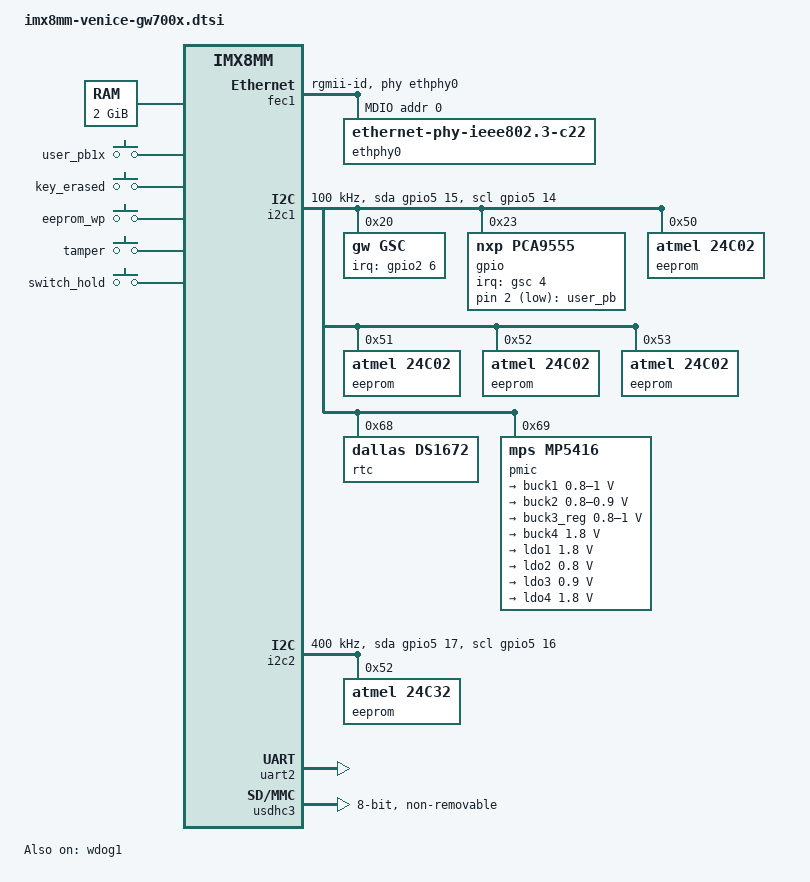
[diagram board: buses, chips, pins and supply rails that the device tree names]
// SPDX-License-Identifier: (GPL-2.0+ OR MIT)
/*
 * Copyright 2020 Gateworks Corporation
 */

#include <dt-bindings/gpio/gpio.h>
#include <dt-bindings/input/linux-event-codes.h>
#include <dt-bindings/leds/common.h>
#include <dt-bindings/net/ti-dp83867.h>

/ {
	memory@40000000 {
		device_type = "memory";
		reg = <0x0 0x40000000 0 0x80000000>;
	};

	gpio-keys {
		compatible = "gpio-keys";

		key-user-pb {
			label = "user_pb";
			gpios = <&gpio 2 GPIO_ACTIVE_LOW>;
			linux,code = <BTN_0>;
		};

		key-user-pb1x {
			label = "user_pb1x";
			linux,code = <BTN_1>;
			interrupt-parent = <&gsc>;
			interrupts = <0>;
		};

		key-erased {
			label = "key_erased";
			linux,code = <BTN_2>;
			interrupt-parent = <&gsc>;
			interrupts = <1>;
		};

		key-eeprom-wp {
			label = "eeprom_wp";
			linux,code = <BTN_3>;
			interrupt-parent = <&gsc>;
			interrupts = <2>;
		};

		key-tamper {
			label = "tamper";
			linux,code = <BTN_4>;
			interrupt-parent = <&gsc>;
			interrupts = <5>;
		};

		switch-hold {
			label = "switch_hold";
			linux,code = <BTN_5>;
			interrupt-parent = <&gsc>;
			interrupts = <7>;
		};
	};
};

&A53_0 {
	cpu-supply = <&buck3_reg>;
};

&A53_1 {
	cpu-supply = <&buck3_reg>;
};

&A53_2 {
	cpu-supply = <&buck3_reg>;
};

&A53_3 {
	cpu-supply = <&buck3_reg>;
};

&ddrc {
	operating-points-v2 = <&ddrc_opp_table>;

	ddrc_opp_table: opp-table {
		compatible = "operating-points-v2";

		opp-25000000 {
			opp-hz = /bits/ 64 <25000000>;
		};

		opp-100000000 {
			opp-hz = /bits/ 64 <100000000>;
		};

		opp-750000000 {
			opp-hz = /bits/ 64 <750000000>;
		};
	};
};

&fec1 {
	pinctrl-names = "default";
	pinctrl-0 = <&pinctrl_fec1>;
	phy-mode = "rgmii-id";
	phy-handle = <&ethphy0>;
	status = "okay";

	mdio {
		#address-cells = <1>;
		#size-cells = <0>;

		ethphy0: ethernet-phy@0 {
			compatible = "ethernet-phy-ieee802.3-c22";
			reg = <0>;
			ti,rx-internal-delay = <DP83867_RGMIIDCTL_2_00_NS>;
			ti,tx-internal-delay = <DP83867_RGMIIDCTL_2_00_NS>;
			tx-fifo-depth = <DP83867_PHYCR_FIFO_DEPTH_4_B_NIB>;
			rx-fifo-depth = <DP83867_PHYCR_FIFO_DEPTH_4_B_NIB>;

			leds {
				#address-cells = <1>;
				#size-cells = <0>;

				led@1 {
					reg = <1>;
					color = <LED_COLOR_ID_AMBER>;
					function = LED_FUNCTION_LAN;
					default-state = "keep";
				};

				led@2 {
					reg = <2>;
					color = <LED_COLOR_ID_GREEN>;
					function = LED_FUNCTION_LAN;
					default-state = "keep";
				};
			};
		};
	};
};

&i2c1 {
	clock-frequency = <100000>;
	pinctrl-names = "default", "gpio";
	pinctrl-0 = <&pinctrl_i2c1>;
	pinctrl-1 = <&pinctrl_i2c1_gpio>;
	scl-gpios = <&gpio5 14 (GPIO_ACTIVE_HIGH | GPIO_OPEN_DRAIN)>;
	sda-gpios = <&gpio5 15 (GPIO_ACTIVE_HIGH | GPIO_OPEN_DRAIN)>;
	status = "okay";

	gsc: gsc@20 {
		compatible = "gw,gsc";
		reg = <0x20>;
		pinctrl-0 = <&pinctrl_gsc>;
		interrupt-parent = <&gpio2>;
		interrupts = <6 IRQ_TYPE_EDGE_FALLING>;
		interrupt-controller;
		#interrupt-cells = <1>;
		#address-cells = <1>;
		#size-cells = <0>;

		adc {
			compatible = "gw,gsc-adc";
			#address-cells = <1>;
			#size-cells = <0>;

			channel@6 {
				gw,mode = <0>;
				reg = <0x06>;
				label = "temp";
			};

			channel@8 {
				gw,mode = <3>;
				reg = <0x08>;
				label = "vdd_bat";
			};

			channel@16 {
				gw,mode = <4>;
				reg = <0x16>;
				label = "fan_tach";
			};

			channel@82 {
				gw,mode = <2>;
				reg = <0x82>;
				label = "vdd_vin";
				gw,voltage-divider-ohms = <22100 1000>;
			};

			channel@84 {
				gw,mode = <2>;
				reg = <0x84>;
				label = "vdd_adc1";
				gw,voltage-divider-ohms = <10000 10000>;
			};

			channel@86 {
				gw,mode = <2>;
				reg = <0x86>;
				label = "vdd_adc2";
				gw,voltage-divider-ohms = <10000 10000>;
			};

			channel@88 {
				gw,mode = <2>;
				reg = <0x88>;
				label = "vdd_dram";
			};

			channel@8c {
				gw,mode = <2>;
				reg = <0x8c>;
				label = "vdd_1p2";
			};

			channel@8e {
				gw,mode = <2>;
				reg = <0x8e>;
				label = "vdd_1p0";
			};

			channel@90 {
				gw,mode = <2>;
				reg = <0x90>;
				label = "vdd_2p5";
				gw,voltage-divider-ohms = <10000 10000>;
			};

			channel@92 {
				gw,mode = <2>;
				reg = <0x92>;
				label = "vdd_3p3";
				gw,voltage-divider-ohms = <10000 10000>;
			};

			channel@98 {
				gw,mode = <2>;
				reg = <0x98>;
				label = "vdd_0p95";
			};

			channel@9a {
				gw,mode = <2>;
				reg = <0x9a>;
				label = "vdd_1p8";
			};

			channel@a2 {
				gw,mode = <2>;
				reg = <0xa2>;
				label = "vdd_gsc";
				gw,voltage-divider-ohms = <10000 10000>;
			};
		};

		fan-controller@0 {
			compatible = "gw,gsc-fan";
			reg = <0x0a>;
		};
	};

	gpio: gpio@23 {
		compatible = "nxp,pca9555";
		reg = <0x23>;
		gpio-controller;
		#gpio-cells = <2>;
		interrupt-parent = <&gsc>;
		interrupts = <4>;
	};

	eeprom@50 {
		compatible = "atmel,24c02";
		reg = <0x50>;
		pagesize = <16>;
	};

	eeprom@51 {
		compatible = "atmel,24c02";
		reg = <0x51>;
		pagesize = <16>;
	};

	eeprom@52 {
		compatible = "atmel,24c02";
		reg = <0x52>;
		pagesize = <16>;
	};

	eeprom@53 {
		compatible = "atmel,24c02";
		reg = <0x53>;
		pagesize = <16>;
	};

	rtc@68 {
		compatible = "dallas,ds1672";
		reg = <0x68>;
	};

	pmic@69 {
		compatible = "mps,mp5416";
		reg = <0x69>;

		regulators {
			/* vdd_0p95: DRAM/GPU/VPU */
			buck1 {
				regulator-name = "buck1";
				regulator-min-microvolt = <800000>;
				regulator-max-microvolt = <1000000>;
				regulator-min-microamp = <3800000>;
				regulator-max-microamp = <6800000>;
				regulator-boot-on;
				regulator-always-on;
			};

			/* vdd_soc */
			buck2 {
				regulator-name = "buck2";
				regulator-min-microvolt = <800000>;
				regulator-max-microvolt = <900000>;
				regulator-min-microamp = <2200000>;
				regulator-max-microamp = <5200000>;
				regulator-boot-on;
				regulator-always-on;
			};

			/* vdd_arm */
			buck3_reg: buck3 {
				regulator-name = "buck3";
				regulator-min-microvolt = <800000>;
				regulator-max-microvolt = <1000000>;
				regulator-min-microamp = <3800000>;
				regulator-max-microamp = <6800000>;
				regulator-always-on;
			};

			/* vdd_1p8 */
			buck4 {
				regulator-name = "buck4";
				regulator-min-microvolt = <1800000>;
				regulator-max-microvolt = <1800000>;
				regulator-min-microamp = <2200000>;
				regulator-max-microamp = <5200000>;
				regulator-boot-on;
				regulator-always-on;
			};

			/* nvcc_snvs_1p8 */
			ldo1 {
				regulator-name = "ldo1";
				regulator-min-microvolt = <1800000>;
				regulator-max-microvolt = <1800000>;
				regulator-boot-on;
				regulator-always-on;
			};

			/* vdd_snvs_0p8 */
			ldo2 {
				regulator-name = "ldo2";
				regulator-min-microvolt = <800000>;
				regulator-max-microvolt = <800000>;
				regulator-boot-on;
				regulator-always-on;
			};

			/* vdd_0p9 */
			ldo3 {
				regulator-name = "ldo3";
				regulator-min-microvolt = <900000>;
				regulator-max-microvolt = <900000>;
				regulator-boot-on;
				regulator-always-on;
			};

			/* vdd_1p8 */
			ldo4 {
				regulator-name = "ldo4";
				regulator-min-microvolt = <1800000>;
				regulator-max-microvolt = <1800000>;
				regulator-boot-on;
				regulator-always-on;
			};
		};
	};
};

&i2c2 {
	clock-frequency = <400000>;
	pinctrl-names = "default", "gpio";
	pinctrl-0 = <&pinctrl_i2c2>;
	pinctrl-1 = <&pinctrl_i2c2_gpio>;
	scl-gpios = <&gpio5 16 (GPIO_ACTIVE_HIGH | GPIO_OPEN_DRAIN)>;
	sda-gpios = <&gpio5 17 (GPIO_ACTIVE_HIGH | GPIO_OPEN_DRAIN)>;
	status = "okay";

	eeprom@52 {
		compatible = "atmel,24c32";
		reg = <0x52>;
		pagesize = <32>;
	};
};

/* console */
&uart2 {
	pinctrl-names = "default";
	pinctrl-0 = <&pinctrl_uart2>;
	status = "okay";
};

/* eMMC */
&usdhc3 {
	pinctrl-names = "default", "state_100mhz", "state_200mhz";
	pinctrl-0 = <&pinctrl_usdhc3>;
	pinctrl-1 = <&pinctrl_usdhc3_100mhz>;
	pinctrl-2 = <&pinctrl_usdhc3_200mhz>;
	bus-width = <8>;
	non-removable;
	status = "okay";
};

&wdog1 {
	pinctrl-names = "default";
	pinctrl-0 = <&pinctrl_wdog>;
	fsl,ext-reset-output;
	status = "okay";
};

&iomuxc {
	pinctrl_fec1: fec1grp {
		fsl,pins = <
			MX8MM_IOMUXC_ENET_MDC_ENET1_MDC			0x3
			MX8MM_IOMUXC_ENET_MDIO_ENET1_MDIO		0x3
			MX8MM_IOMUXC_ENET_TD3_ENET1_RGMII_TD3		0x1f
			MX8MM_IOMUXC_ENET_TD2_ENET1_RGMII_TD2		0x1f
			MX8MM_IOMUXC_ENET_TD1_ENET1_RGMII_TD1		0x1f
			MX8MM_IOMUXC_ENET_TD0_ENET1_RGMII_TD0		0x1f
			MX8MM_IOMUXC_ENET_RD3_ENET1_RGMII_RD3		0x91
			MX8MM_IOMUXC_ENET_RD2_ENET1_RGMII_RD2		0x91
			MX8MM_IOMUXC_ENET_RD1_ENET1_RGMII_RD1		0x91
			MX8MM_IOMUXC_ENET_RD0_ENET1_RGMII_RD0		0x91
			MX8MM_IOMUXC_ENET_TXC_ENET1_RGMII_TXC		0x1f
			MX8MM_IOMUXC_ENET_RXC_ENET1_RGMII_RXC		0x91
			MX8MM_IOMUXC_ENET_RX_CTL_ENET1_RGMII_RX_CTL	0x91
			MX8MM_IOMUXC_ENET_TX_CTL_ENET1_RGMII_TX_CTL	0x1f
			MX8MM_IOMUXC_NAND_ALE_GPIO3_IO0			0x19
		>;
	};

	pinctrl_gsc: gscgrp {
		fsl,pins = <
			MX8MM_IOMUXC_SD1_DATA4_GPIO2_IO6	0x159
		>;
	};

	pinctrl_i2c1: i2c1grp {
		fsl,pins = <
			MX8MM_IOMUXC_I2C1_SCL_I2C1_SCL		0x400001c3
			MX8MM_IOMUXC_I2C1_SDA_I2C1_SDA		0x400001c3
		>;
	};

	pinctrl_i2c1_gpio: i2c1gpiogrp {
		fsl,pins = <
			MX8MM_IOMUXC_I2C1_SCL_GPIO5_IO14	0x400001c3
			MX8MM_IOMUXC_I2C1_SDA_GPIO5_IO15	0x400001c3
		>;
	};

	pinctrl_i2c2: i2c2grp {
		fsl,pins = <
			MX8MM_IOMUXC_I2C2_SCL_I2C2_SCL		0x400001c3
			MX8MM_IOMUXC_I2C2_SDA_I2C2_SDA		0x400001c3
		>;
	};

	pinctrl_i2c2_gpio: i2c2gpiogrp {
		fsl,pins = <
			MX8MM_IOMUXC_I2C2_SCL_GPIO5_IO16	0x400001c3
			MX8MM_IOMUXC_I2C2_SDA_GPIO5_IO17	0x400001c3
		>;
	};

	pinctrl_uart2: uart2grp {
		fsl,pins = <
			MX8MM_IOMUXC_UART2_RXD_UART2_DCE_RX	0x140
			MX8MM_IOMUXC_UART2_TXD_UART2_DCE_TX	0x140
		>;
	};

	pinctrl_usdhc3: usdhc3grp {
		fsl,pins = <
			MX8MM_IOMUXC_NAND_WE_B_USDHC3_CLK	0x190
			MX8MM_IOMUXC_NAND_WP_B_USDHC3_CMD	0x1d0
			MX8MM_IOMUXC_NAND_DATA04_USDHC3_DATA0	0x1d0
			MX8MM_IOMUXC_NAND_DATA05_USDHC3_DATA1	0x1d0
			MX8MM_IOMUXC_NAND_DATA06_USDHC3_DATA2	0x1d0
			MX8MM_IOMUXC_NAND_DATA07_USDHC3_DATA3	0x1d0
			MX8MM_IOMUXC_NAND_RE_B_USDHC3_DATA4	0x1d0
			MX8MM_IOMUXC_NAND_CE2_B_USDHC3_DATA5	0x1d0
			MX8MM_IOMUXC_NAND_CE3_B_USDHC3_DATA6	0x1d0
			MX8MM_IOMUXC_NAND_CLE_USDHC3_DATA7	0x1d0
			MX8MM_IOMUXC_NAND_CE1_B_USDHC3_STROBE	0x190
		>;
	};

	pinctrl_usdhc3_100mhz: usdhc3-100mhzgrp {
		fsl,pins = <
			MX8MM_IOMUXC_NAND_WE_B_USDHC3_CLK	0x194
			MX8MM_IOMUXC_NAND_WP_B_USDHC3_CMD	0x1d4
			MX8MM_IOMUXC_NAND_DATA04_USDHC3_DATA0	0x1d4
			MX8MM_IOMUXC_NAND_DATA05_USDHC3_DATA1	0x1d4
			MX8MM_IOMUXC_NAND_DATA06_USDHC3_DATA2	0x1d4
			MX8MM_IOMUXC_NAND_DATA07_USDHC3_DATA3	0x1d4
			MX8MM_IOMUXC_NAND_RE_B_USDHC3_DATA4	0x1d4
			MX8MM_IOMUXC_NAND_CE2_B_USDHC3_DATA5	0x1d4
			MX8MM_IOMUXC_NAND_CE3_B_USDHC3_DATA6	0x1d4
			MX8MM_IOMUXC_NAND_CLE_USDHC3_DATA7	0x1d4
			MX8MM_IOMUXC_NAND_CE1_B_USDHC3_STROBE	0x194
		>;
	};

	pinctrl_usdhc3_200mhz: usdhc3-200mhzgrp {
		fsl,pins = <
			MX8MM_IOMUXC_NAND_WE_B_USDHC3_CLK	0x196
			MX8MM_IOMUXC_NAND_WP_B_USDHC3_CMD	0x1d6
			MX8MM_IOMUXC_NAND_DATA04_USDHC3_DATA0	0x1d6
			MX8MM_IOMUXC_NAND_DATA05_USDHC3_DATA1	0x1d6
			MX8MM_IOMUXC_NAND_DATA06_USDHC3_DATA2	0x1d6
			MX8MM_IOMUXC_NAND_DATA07_USDHC3_DATA3	0x1d6
			MX8MM_IOMUXC_NAND_RE_B_USDHC3_DATA4	0x1d6
			MX8MM_IOMUXC_NAND_CE2_B_USDHC3_DATA5	0x1d6
			MX8MM_IOMUXC_NAND_CE3_B_USDHC3_DATA6	0x1d6
			MX8MM_IOMUXC_NAND_CLE_USDHC3_DATA7	0x1d6
			MX8MM_IOMUXC_NAND_CE1_B_USDHC3_STROBE	0x196
		>;
	};

	pinctrl_wdog: wdoggrp {
		fsl,pins = <
			MX8MM_IOMUXC_GPIO1_IO02_WDOG1_WDOG_B	0xc6
		>;
	};
};
